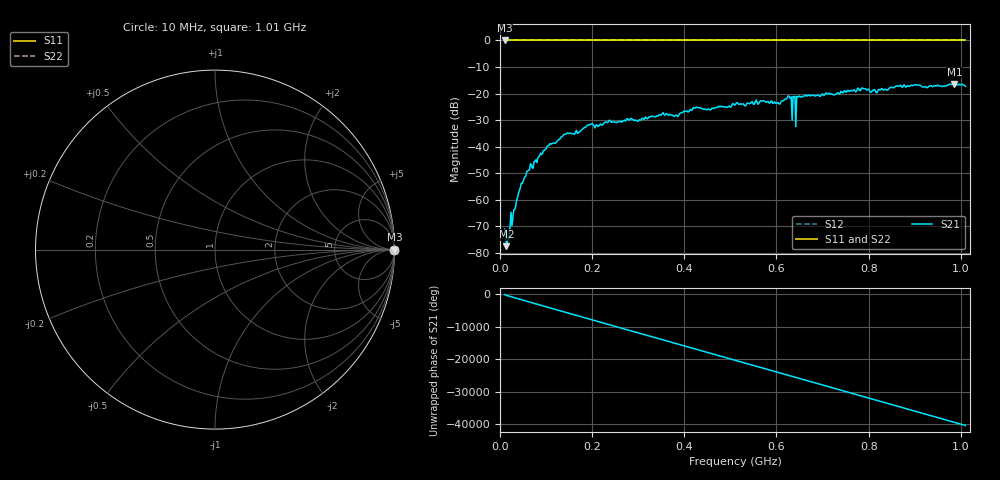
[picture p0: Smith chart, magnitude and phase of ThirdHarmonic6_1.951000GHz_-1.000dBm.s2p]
! 8/16/2025 11:29:41 PM
! C:\ANRITSUVNA\TEMP\TEMP.S2P
! CHANNEL.1
! TR.MEASUREMENT
! RAW.DATA
! RF.CORRECTION.OFF
! AVERAGING.OFF
! IF.BANDWIDTH: 5KHZ
! SWEEPTYPE:  FREQ.SWEEP(Linear)
! Reference Plane Port Info
! PORT:  PORT1  PORT2
! DISTANCE:  0  m  0  m
! TIME:  0  s  0  s
! PHASE.OFFSET:  0  deg.  0  deg.
! LOSS:  0  dB  0  dB
! REF.LOSS:  0  dB  0  dB
! REF.FREQ:  0  Hz  0  Hz
! Power Info
! POWER:  -20  dBm  -20  dBm
! EFF.POWER:  -20  dBm  -20  dBm
! SOURCE.ATTEN:  0  dB  0  dB
! TEST.ATTEN:  0  dB  0  dB
# GHZ S RI R 50.0
! FREQ.GHZ  S11RE  S11IM  S21RE  S21IM  S12RE  S12IM  S22RE  S22IM
!; PortSelection: Port_12
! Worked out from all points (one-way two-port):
!   501 points, 10 MHz to 1.01 GHz, reference 50 ohm
!   highest |S21| = -16.38 dB at 986 MHz (marker M1); lowest = -77.5 dB at 14 MHz (marker M2)
!   lowest |S11| = 0.0 dB at 10 MHz (marker M3)
!   |S11| at or under -10 dB: nowhere
!   |S22| runs from 0.0 to 0.0 dB; largest |S21 - S12| = 1.2
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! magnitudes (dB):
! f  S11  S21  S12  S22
! 10 MHz  0.0  -71.0  0.0  0.0
! 14 MHz  0.0  -77.5  0.0  0.0
! 18 MHz  0.0  -73.9  0.0  0.0
! 26 MHz  0.0  -69.8  0.0  0.0
! 44 MHz  0.0  -55.5  0.0  0.0
! 64 MHz  0.0  -48.8  0.0  0.0
! 106 MHz  0.0  -39.6  0.0  0.0
! 178 MHz  0.0  -33.5  0.0  0.0
! 196 MHz  0.0  -31.7  0.0  0.0
! 344 MHz  0.0  -28.3  0.0  0.0
! 510 MHz  0.0  -24.3  0.0  0.0
! 604 MHz  0.0  -23.5  0.0  0.0
! 628 MHz  0.0  -21.2  0.0  0.0
! 636 MHz  0.0  -21.1  0.0  0.0
! 638 MHz  0.0  -21.5  0.0  0.0
! 640 MHz  0.0  -21.0  0.0  0.0
! 646 MHz  0.0  -21.4  0.0  0.0
! 648 MHz  0.0  -21.0  0.0  0.0
! 678 MHz  0.0  -20.6  0.0  0.0
! 844 MHz  0.0  -18.1  0.0  0.0
! 986 MHz  0.0  -16.4  0.0  0.0
! 1.01 GHz  0.0  -17.2  0.0  0.0
